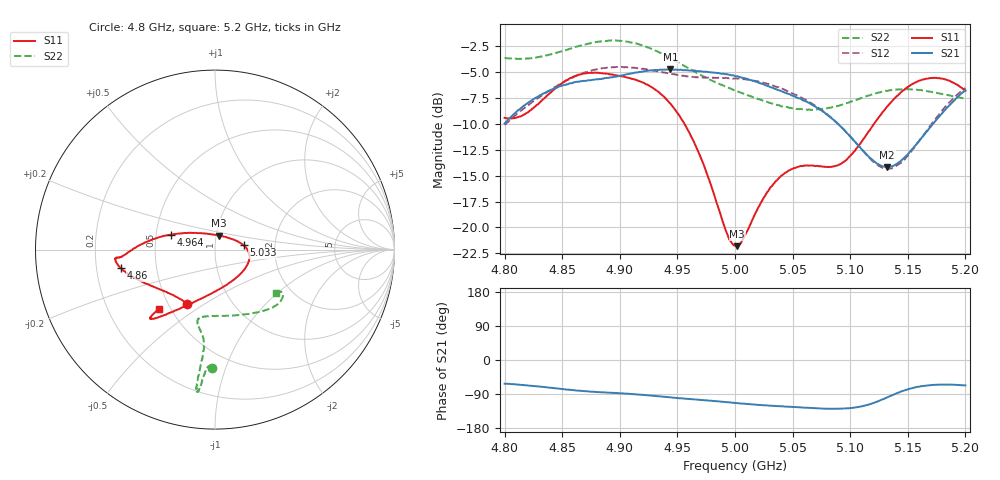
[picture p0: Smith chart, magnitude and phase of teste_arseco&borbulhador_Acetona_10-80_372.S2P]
! Network Analyzer HP8722D
! Hewlett-Packard
! Data name: Linha & Wilkinson
! Saver's name: Rodrigo Anjos
! Comments: Teste da utilização de aquisição
! continua pelo VNA HP8722D
! Time and date: 17/4/2025 17:27
!  Frequency  S11  S21  S12  S22
# HZ  S  MA R 50
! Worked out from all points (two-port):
!   401 points, 4.8 GHz to 5.2 GHz, reference 50 ohm
!   highest |S21| = -4.74 dB at 4.944 GHz (marker M1); lowest = -14.2 dB at 5.132 GHz (marker M2)
!   |S21| within 3 dB of the highest: 4.823 GHz to 5.059 GHz (235.4 MHz wide, 4.76 % of centre); 5.190395 GHz to end of sweep
!   lowest |S11| = -21.8 dB at 5.002 GHz (marker M3), VSWR 1.18, Z = 51.6 + j8.12 ohm
!   |S11| at or under -10 dB: 4.956 GHz to 5.121 GHz (164.6 MHz wide, 3.27 % of centre)
!   |S22| runs from -8.7 to -1.9 dB; largest |S21 - S12| = 0.87
!   S11 on the Smith chart (normalised r, x): 4.8 GHz: 0.62, -0.42; 4.86 GHz: 0.31, -0.09; 4.964 GHz: 0.60, +0.11; 5.033 GHz: 1.38, +0.07; 5.2 GHz: 0.43, -0.36
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4.8e9  0.338 -117.3  0.3176 -62.6  0.3119 -176.7  0.6586 -91.6
4.818e9  0.3529 -136.5  0.391 -66.6  0.381 -176.4  0.6521 -93.0
4.86e9  0.5353 -168.9  0.5012 -79.6  0.5318 -179.9  0.7358 -95.6
4.867e9  0.5495 -171.6  0.5085 -81.7  0.553 178.9  0.7576 -95.8
4.899e9  0.5389 -175.4  0.5373 -87.7  0.5946 172.9  0.7964 -97.3
4.934e9  0.4491 179.0  0.575 -95.8  0.5662 169.7  0.7003 -97.4
4.944e9  0.3952 174.4  0.5797 -98.7  0.5517 170.1  0.657 -97.2
4.964e9  0.2611 161.4  0.5714 -103.8  0.5327 171.8  0.5684 -96.4
4.975e9  0.1857 150.2  0.5647 -106.5  0.529 172.8  0.5273 -96.7
4.993e9  0.09361 110.8  0.5491 -111.3  0.5261 173.9  0.475 -98.8
5e9  0.08165 83.2  0.5376 -113.4  0.5237 174.0  0.4579 -100.1
5.002e9  0.08116 74.6  0.5377 -113.9  0.5221 173.9  0.4552 -100.6
5.033e9  0.1611 8.7  0.4715 -120.9  0.4842 172.6  0.3954 -103.4
5.048e9  0.1899 -5.1  0.4371 -123.3  0.4504 172.2  0.3779 -98.8
5.067e9  0.1988 -25.7  0.3911 -126.6  0.3954 172.0  0.3693 -88.2
5.095e9  0.2084 -74.0  0.2944 -128.2  0.2952 174.6  0.3942 -66.4
5.119e9  0.3062 -110.3  0.2126 -114.7  0.2098 -170.0  0.4387 -50.5
5.132e9  0.3825 -120.7  0.1955 -99.0  0.192 -152.3  0.456 -44.2
5.134e9  0.3939 -122.0  0.1958 -96.2  0.192 -149.2  0.4589 -43.3
5.146e9  0.4582 -127.4  0.2143 -81.4  0.2092 -132.0  0.4646 -38.9
5.168e9  0.5244 -132.6  0.2975 -66.9  0.3008 -113.2  0.4527 -33.5
5.2e9  0.4562 -133.5  0.46 -67.2  0.4711 -109.2  0.4171 -35.1
